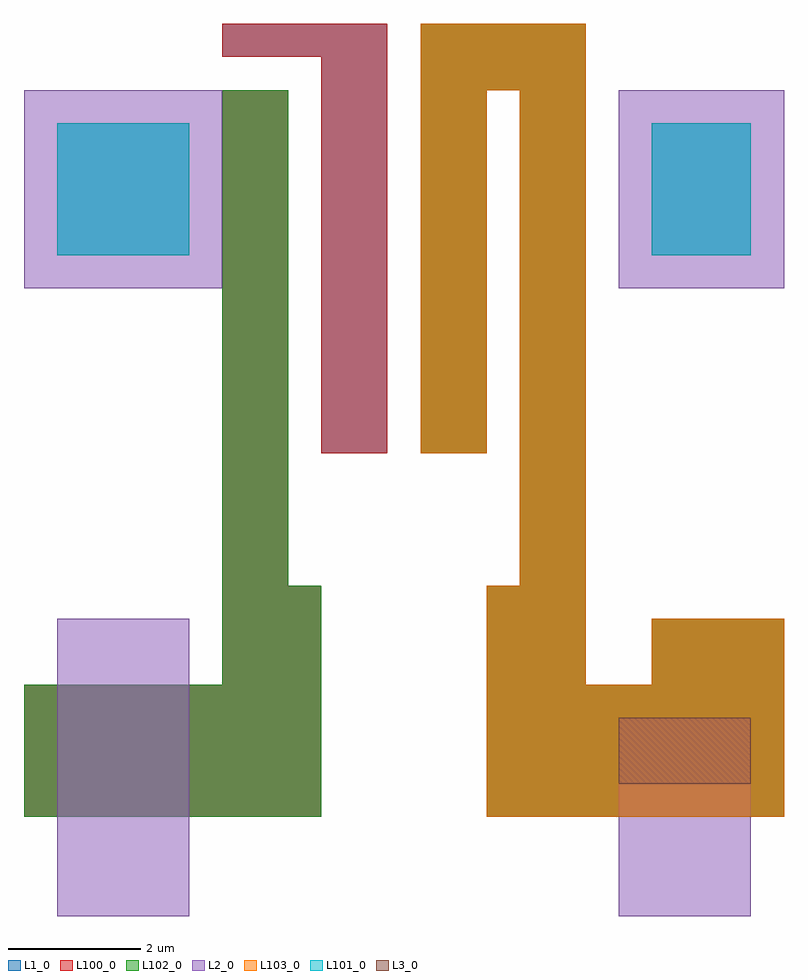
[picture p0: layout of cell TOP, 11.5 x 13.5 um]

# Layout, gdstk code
from math import pi, radians
import gdstk
lib = gdstk.Library(unit=1e-6, precision=1e-09)
def R(c, l, rs):  # rectangles x0, y0, x1, y1
    for r in rs: c.add(gdstk.rectangle(r[:2], r[2:], *l))
def P(c, l, *ps):  # polygons
    for p in ps: c.add(gdstk.Polygon(p, *l))
L1_0 = (1, 0)
L2_0 = (2, 0)
L3_0 = (3, 0)
L100_0 = (100, 0)
L101_0 = (101, 0)
L102_0 = (102, 0)
L103_0 = (103, 0)

part = lib.new_cell('PART')
R(part, L1_0, [(0,0,1,5.5)])

child = lib.new_cell('CHILD')
R(child, L1_0, [(-0.5,-5.5,0,-2), (1,-5.5,4,-3.5), (2,3,3.5,5)])
R(child, L2_0, [(1.5,-7,3.5,-4), (1.5,2.5,4,5.5)])
child.add(gdstk.Reference(part, (0,0)))
child.add(gdstk.Reference(part, (0,-5.5)))
child.add(gdstk.Reference(part, (-1.5,0)))

top = lib.new_cell('TOP')
R(top, L1_0, [(2,-3.5,4,-2.5), (-6,3,-5,5), (-3,5.5,-2,6.5), (-1.5,5.5,1,6.5), (-4.5,6,-3,6.5)])
R(top, L2_0, [(-7,-4,-5,-2.5), (-5.5,2.5,-4.5,5.5)])
R(top, L3_0, [(1.5,-5,3.5,-4)])
P(top, L100_0, [(-3,0),(-3,6),(-4.5,6),(-4.5,6.5),(-2,6.5),(-2,0)],
  [(-0.5,-5.5),(-0.5,-2),(0,-2),(0,5.5),(-0.5,5.5),(-0.5,0),(-1.5,0),(-1.5,6.5),(1,6.5),(1,-3.5),(2,-3.5),(2,-2.5),(4,-2.5),(4,-5.5)],
  [(-7.5,-5.5),(-7.5,-3.5),(-4.5,-3.5),(-4.5,5.5),(-3.5,5.5),(-3.5,-2),(-3,-2),(-3,-5.5)])
R(top, L101_0, [(-7,3,-5,5), (2,3,3.5,5)])
P(top, L102_0, [(-0.5,-5.5),(-0.5,-2),(0,-2),(0,5.5),(-0.5,5.5),(-0.5,0),(-1.5,0),(-1.5,6.5),(1,6.5),(1,-3.5),(2,-3.5),(2,-2.5),(4,-2.5),(4,-5.5)],
  [(-7.5,-5.5),(-7.5,-3.5),(-4.5,-3.5),(-4.5,5.5),(-3.5,5.5),(-3.5,-2),(-3,-2),(-3,-5.5)])
P(top, L103_0, [(-0.5,-5.5),(-0.5,-2),(0,-2),(0,5.5),(-0.5,5.5),(-0.5,0),(-1.5,0),(-1.5,6.5),(1,6.5),(1,-3.5),(2,-3.5),(2,-2.5),(4,-2.5),(4,-5.5)])
top.add(gdstk.Reference(child, (0,0)))
top.add(gdstk.Reference(child, (-3.5,0), rotation=pi, x_reflection=True))

lib.write_gds('TOP.gds')
